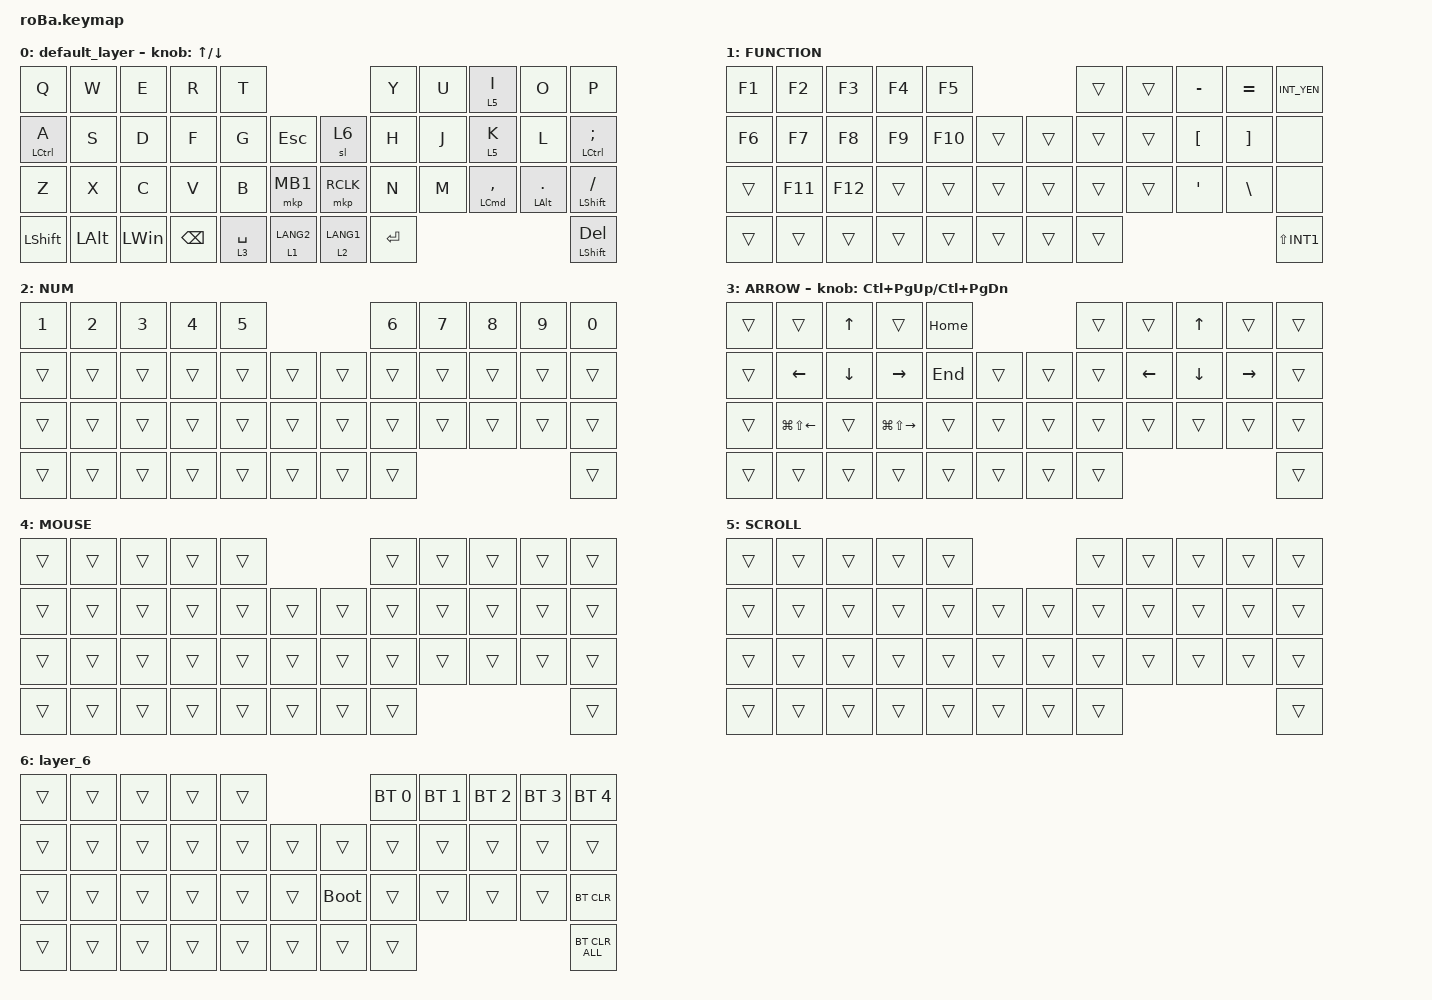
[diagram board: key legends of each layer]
#include <behaviors.dtsi>
#include <dt-bindings/zmk/bt.h>
#include <dt-bindings/zmk/keys.h>
#include <dt-bindings/zmk/pointing.h>

#define MOUSE 4
#define SCROLL 5
#define NUM 6

&mt {
    flavor = "balanced";
    quick-tap-ms = <0>;
};

/ {
    combos {
        compatible = "zmk,combos";

        tab {
            bindings = <&kp TAB>;
            key-positions = <11 12>;
        };

        shift_tab {
            bindings = <&kp LS(TAB)>;
            key-positions = <12 13>;
        };

        muhennkann {
            bindings = <&to_layer_0 INT_MUHENKAN>;
            key-positions = <11 10>;
        };
    };

    macros {
        to_layer_0: to_layer_0 {
            compatible = "zmk,behavior-macro-one-param";
            #binding-cells = <1>;
            bindings = <&to 0 &macro_param_1to1 &kp MACRO_PLACEHOLDER>;
            label = "TO_LAYER_0";
        };
    };

    behaviors {
        lt_to_layer_0: lt_to_layer_0 {
            compatible = "zmk,behavior-hold-tap";
            label = "LAYER_TAP_TO_0";
            bindings = <&mo>, <&to_layer_0>;

            #binding-cells = <2>;
            tapping-term-ms = <200>;
        };
    };

    keymap {
        compatible = "zmk,keymap";

        default_layer {
            bindings = <
&kp Q           &kp W         &kp E         &kp R          &kp T                                                            &kp Y      &kp U  &lt 5 I                 &kp O                &kp P
&mt LCTRL A     &kp S         &kp D         &kp F          &kp G        &kp ESC                     &sl 6                   &kp H      &kp J  &lt 5 K                 &kp L                &mt LEFT_CONTROL SEMICOLON
&kp Z           &kp X         &kp C         &kp V          &kp B        &mkp MB1                    &mkp RCLK               &kp N      &kp M  &mt LEFT_COMMAND COMMA  &mt LEFT_ALT PERIOD  &mt LEFT_SHIFT SLASH
&kp LEFT_SHIFT  &kp LEFT_ALT  &kp LEFT_WIN  &kp BACKSPACE  &lt 3 SPACE  &lt_to_layer_0 1 LANG2      &lt_to_layer_0 2 LANG1  &kp ENTER                                                      &mt LEFT_SHIFT DELETE
            >;

            sensor-bindings = <&inc_dec_kp UP_ARROW DOWN_ARROW>;
        };

        FUNCTION {
            bindings = <
&kp F1  &kp F2   &kp F3   &kp F4  &kp F5                       &trans  &trans  &kp MINUS         &kp EQUAL          &kp INT_YEN
&kp F6  &kp F7   &kp F8   &kp F9  &kp F10  &trans      &trans  &trans  &trans  &kp LEFT_BRACKET  &kp RIGHT_BRACKET  &none
&trans  &kp F11  &kp F12  &trans  &trans   &trans      &trans  &trans  &trans  &kp SINGLE_QUOTE  &kp BACKSLASH      &none
&trans  &trans   &trans   &trans  &trans   &trans      &trans  &trans                                               &kp LS(INT1)
            >;
        };

        NUM {
            bindings = <
&kp NUMBER_1  &kp NUMBER_2  &kp NUMBER_3  &kp NUMBER_4  &kp NUMBER_5                      &kp NUMBER_6  &kp NUMBER_7  &kp NUMBER_8  &kp NUMBER_9  &kp NUMBER_0
&trans        &trans        &trans        &trans        &trans        &trans      &trans  &trans        &trans        &trans        &trans        &trans
&trans        &trans        &trans        &trans        &trans        &trans      &trans  &trans        &trans        &trans        &trans        &trans
&trans        &trans        &trans        &trans        &trans        &trans      &trans  &trans                                                  &trans
            >;
        };

        ARROW {
            bindings = <
&trans  &trans                  &kp UP_ARROW    &trans                   &kp HOME                      &trans  &trans          &kp UP_ARROW    &trans           &trans
&trans  &kp LEFT_ARROW          &kp DOWN_ARROW  &kp RIGHT_ARROW          &kp END   &trans      &trans  &trans  &kp LEFT_ARROW  &kp DOWN_ARROW  &kp RIGHT_ARROW  &trans
&trans  &kp LG(LS(LEFT_ARROW))  &trans          &kp LG(LS(RIGHT_ARROW))  &trans    &trans      &trans  &trans  &trans          &trans          &trans           &trans
&trans  &trans                  &trans          &trans                   &trans    &trans      &trans  &trans                                                   &trans
            >;

            sensor-bindings = <&inc_dec_kp LC(PAGE_UP) LC(PAGE_DOWN)>;
        };

        MOUSE {
            bindings = <
&trans  &trans  &trans  &trans  &trans                      &trans  &trans  &trans  &trans  &trans
&trans  &trans  &trans  &trans  &trans  &trans      &trans  &trans  &trans  &trans  &trans  &trans
&trans  &trans  &trans  &trans  &trans  &trans      &trans  &trans  &trans  &trans  &trans  &trans
&trans  &trans  &trans  &trans  &trans  &trans      &trans  &trans                          &trans
            >;
        };

        SCROLL {
            bindings = <
&trans  &trans  &trans  &trans  &trans                      &trans  &trans  &trans  &trans  &trans
&trans  &trans  &trans  &trans  &trans  &trans      &trans  &trans  &trans  &trans  &trans  &trans
&trans  &trans  &trans  &trans  &trans  &trans      &trans  &trans  &trans  &trans  &trans  &trans
&trans  &trans  &trans  &trans  &trans  &trans      &trans  &trans                          &trans
            >;
        };

        layer_6 {
            bindings = <
&trans  &trans  &trans  &trans  &trans                           &bt BT_SEL 0  &bt BT_SEL 1  &bt BT_SEL 2  &bt BT_SEL 3  &bt BT_SEL 4
&trans  &trans  &trans  &trans  &trans  &trans      &trans       &trans        &trans        &trans        &trans        &trans
&trans  &trans  &trans  &trans  &trans  &trans      &bootloader  &trans        &trans        &trans        &trans        &bt BT_CLR
&trans  &trans  &trans  &trans  &trans  &trans      &trans       &trans                                                  &bt BT_CLR_ALL
            >;
        };
    };
};
